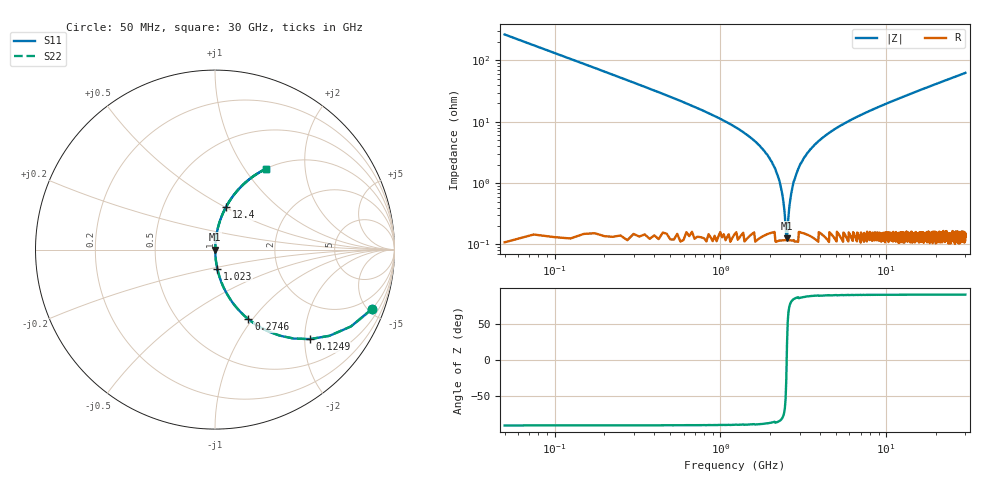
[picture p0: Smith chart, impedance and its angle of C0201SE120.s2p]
!	AVX Thin Film Operation 	Date: April 2014
!	Description: Accu-P® Series, Thin Film  SMD RF Capacitor
!	Part Number: 0201YK120FBSTR
# MHZ S MA R 50
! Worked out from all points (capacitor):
!   1201 points, 50 MHz to 30 GHz, reference 50 ohm
!   read as one part in series: C = 12 pF near 199.8 MHz
!   lowest |Z| = 126 mohm at 2.521 GHz (marker M1)
!   series resonance near 2.51 GHz, so ESL is about 330 pH
!   S11 on the Smith chart (normalised r, x): 50 MHz: 1.00, -5.31; 124.9 MHz: 1.00, -2.12; 274.6 MHz: 1.00, -0.95; 1.023 GHz: 1.00, -0.22; 12.4 GHz: 1.00, +0.50; 30 GHz: 1.00, +1.25
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50  0.936 -20.7  0.353 69.3  0.353 69.3  0.936 -20.7
124.875  0.727 -43.3  0.686 46.6  0.686 46.6  0.727 -43.3
274.625  0.43 -64.4  0.902 25.5  0.902 25.5  0.43 -64.4
499.25  0.247 -75.4  0.968 14.3  0.968 14.3  0.247 -75.4
1023.375  0.107 -83.1  0.993 6.2  0.993 6.2  0.107 -83.1
1996.75  0.024 -85.4  0.998 1.4  0.998 1.4  0.024 -85.4
2246.333  0.012 -82.8  0.999 0.7  0.999 0.7  0.012 -82.8
2421.042  0.004045 -70.3  0.999 0.2  0.999 0.2  0.004045 -70.3
2520.875  0.001422 18.5  0.999 -0.0  0.999 -0.0  0.001422 18.5
2620.708  0.004747 73.2  0.999 -0.3  0.999 -0.3  0.004747 73.2
2745.5  0.009567 81.4  0.999 -0.5  0.999 -0.5  0.009567 81.4
2870.292  0.014 83.8  0.999 -0.8  0.999 -0.8  0.014 83.8
3244.667  0.027 85.6  0.998 -1.6  0.998 -1.6  0.027 85.6
3943.5  0.049 85.6  0.997 -2.8  0.997 -2.8  0.049 85.6
5041.667  0.079 84.5  0.995 -4.6  0.995 -4.6  0.079 84.5
7088.25  0.129 82.0  0.99 -7.4  0.99 -7.4  0.129 82.0
10058.29  0.194 78.4  0.98 -11.2  0.98 -11.2  0.194 78.4
12404.38  0.243 75.7  0.969 -14.0  0.969 -14.0  0.243 75.7
15025  0.294 72.7  0.955 -17.1  0.955 -17.1  0.294 72.7
20016.67  0.383 67.3  0.923 -22.5  0.923 -22.5  0.383 67.3
25033.29  0.462 62.3  0.886 -27.5  0.886 -27.5  0.462 62.3
30000  0.531 57.8  0.846 -32.1  0.846 -32.1  0.531 57.8
